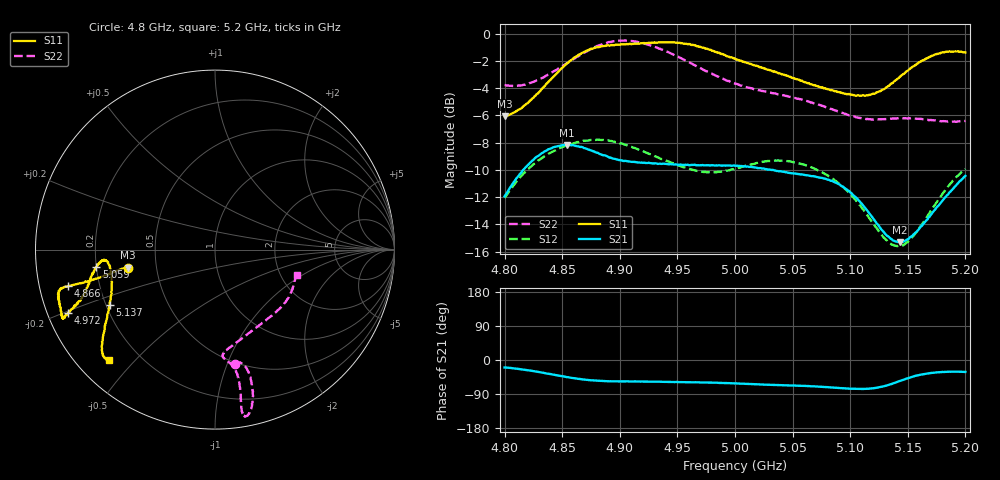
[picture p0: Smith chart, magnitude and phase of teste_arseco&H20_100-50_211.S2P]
! Network Analyzer HP8722D
! Hewlett-Packard
! Data name: Linha & Wilkinson
! Saver's name: Rodrigo Anjos
! Comments: Teste da utilização de aquisição
! continua pelo VNA HP8722D
! Time and date: 6/5/2025 14:19
!  Frequency  S11  S21  S12  S22
# HZ  S  MA R 50
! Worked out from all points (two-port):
!   401 points, 4.8 GHz to 5.2 GHz, reference 50 ohm
!   highest |S21| = -8.16 dB at 4.854 GHz (marker M1); lowest = -15.3 dB at 5.143 GHz (marker M2)
!   |S21| within 3 dB of the highest: 4.806 GHz to 5.092 GHz (286.1 MHz wide, 5.78 % of centre); 5.191621 GHz to end of sweep
!   lowest |S11| = -6.1 dB at 4.8 GHz (marker M3), VSWR 2.98, Z = 16.9 - j4.54 ohm
!   |S11| at or under -10 dB: nowhere
!   |S22| runs from -6.5 to -0.5 dB; largest |S21 - S12| = 0.62
!   S11 on the Smith chart (normalised r, x): 4.8 GHz: 0.34, -0.09; 4.866 GHz: 0.09, -0.12; 4.972 GHz: 0.06, -0.21; 5.059 GHz: 0.20, -0.07; 5.137 GHz: 0.22, -0.23; 5.2 GHz: 0.09, -0.42
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4.8e9  0.4977 -168.3  0.253 -19.8  0.2493 -141.0  0.6479 -80.2
4.826e9  0.5887 -167.3  0.3483 -29.8  0.3334 -144.7  0.6689 -75.7
4.854e9  0.7775 -166.0  0.3907 -45.2  0.3889 -150.0  0.7791 -74.7
4.866e9  0.8433 -166.0  0.3837 -50.3  0.4017 -152.0  0.8372 -75.4
4.867e9  0.8501 -165.9  0.384 -51.1  0.4023 -152.1  0.8434 -75.4
4.898e9  0.9125 -162.9  0.3449 -56.3  0.3975 -156.5  0.9421 -78.9
4.914e9  0.9196 -159.7  0.3376 -56.5  0.3789 -157.2  0.936 -80.3
4.934e9  0.9308 -156.4  0.3329 -57.5  0.3504 -155.8  0.8824 -80.5
4.972e9  0.8896 -156.6  0.3295 -59.1  0.3109 -146.2  0.7401 -79.8
5e9  0.8095 -159.2  0.3277 -61.9  0.3196 -137.3  0.6564 -81.3
5.035e9  0.7238 -165.4  0.3142 -65.9  0.3425 -134.4  0.6038 -85.7
5.059e9  0.6685 -171.6  0.3039 -68.3  0.3314 -136.2  0.5715 -84.5
5.067e9  0.6509 -173.1  0.2998 -69.3  0.3222 -136.8  0.5585 -82.7
5.085e9  0.6184 -174.4  0.2868 -72.7  0.2934 -138.5  0.5269 -75.9
5.103e9  0.5958 -171.5  0.2545 -76.1  0.2496 -138.7  0.4974 -65.2
5.117e9  0.5958 -164.9  0.2178 -75.4  0.2088 -135.0  0.4853 -55.0
5.134e9  0.646 -154.3  0.1786 -65.1  0.1705 -120.6  0.4873 -43.3
5.137e9  0.6606 -152.4  0.1742 -62.1  0.1677 -116.7  0.4885 -41.4
5.143e9  0.6942 -149.3  0.1712 -55.6  0.1659 -108.8  0.489 -38.1
5.154e9  0.7557 -144.5  0.1813 -44.4  0.1795 -95.1  0.4885 -32.3
5.173e9  0.8356 -138.9  0.2244 -33.3  0.2336 -80.9  0.481 -24.2
5.2e9  0.8532 -133.7  0.3007 -31.5  0.319 -77.0  0.4784 -17.5
